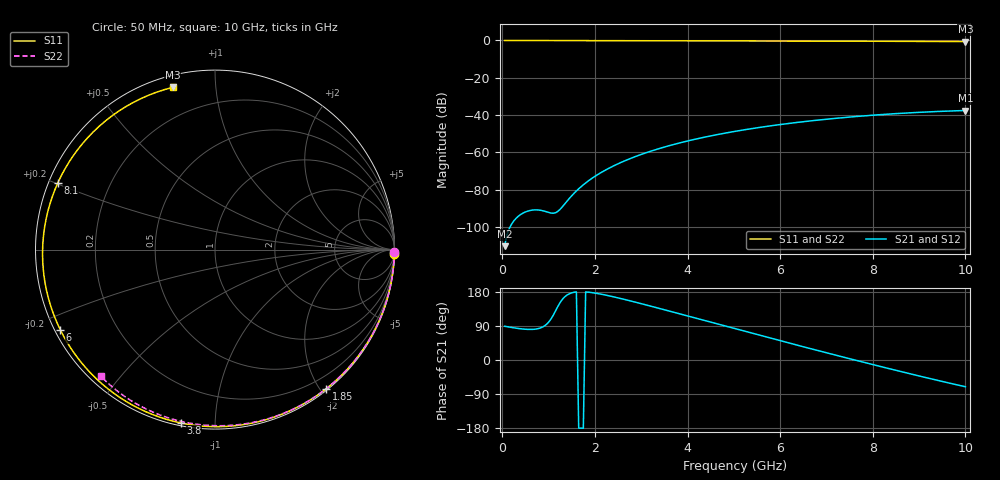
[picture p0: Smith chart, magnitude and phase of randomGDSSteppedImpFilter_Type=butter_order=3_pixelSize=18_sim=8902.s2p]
! freq	dB(S11)	phase(S11)	dB(S12)	phase(S12)
!  dB(S21)	phase(S21)	dB(S22)	phase(S22)
!S-par simulation data
#  GHz  S  DB  R 50
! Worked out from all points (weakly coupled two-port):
!   200 points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, 50 MHz to 10 GHz, reference 50 ohm
!   highest |S21| = -37.60 dB at 10 GHz (marker M1); lowest = -110.4 dB at 50 MHz (marker M2)
!   lowest |S11| = -0.6 dB at 10 GHz (marker M3), VSWR 29.27, Z = 2.73 + j38.6 ohm
!   |S11| at or under -10 dB: nowhere
!   |S22| runs from -0.4 to 0.0 dB; largest |S21 - S12| = 0
!   S11 on the Smith chart (normalised r, x): 50 MHz: 0, -80; 1.85 GHz: 0.02, -2.07; 3.8 GHz: 0.01, -0.82; 6 GHz: 0.02, -0.24; 8.1 GHz: 0.03, +0.20; 10 GHz: 0.05, +0.77
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0.05  -0.00 -1.4  -110.42 89.1  -110.42 89.1  -0.00 -0.8
0.4  -0.02 -11.4  -93.36 82.3  -93.36 82.3  -0.01 -6.1
0.8  -0.03 -22.6  -91.05 83.6  -91.05 83.6  -0.02 -12.1
1.6  -0.06 -44.7  -80.78 179.7  -80.78 179.7  -0.03 -24.1
1.65  -0.06 -46.1  -79.61 -179.9  -79.61 -179.9  -0.03 -24.9
1.75  -0.06 -48.8  -77.46 -179.9  -77.46 -179.9  -0.03 -26.3
1.85  -0.07 -51.5  -75.53 179.1  -75.53 179.1  -0.04 -27.8
2.15  -0.08 -59.5  -70.66 173.3  -70.66 173.3  -0.04 -32.2
2.5  -0.09 -68.6  -66.18 163.9  -66.18 163.9  -0.05 -37.3
2.9  -0.10 -78.9  -62.08 151.8  -62.08 151.8  -0.06 -43.1
3.4  -0.12 -91.4  -57.94 135.8  -57.94 135.8  -0.07 -50.1
3.8  -0.14 -101.1  -55.19 122.8  -55.19 122.8  -0.08 -55.7
4.4  -0.16 -115.4  -51.74 103.1  -51.74 103.1  -0.09 -63.9
5.05  -0.20 -130.6  -48.68 81.7  -48.68 81.7  -0.11 -72.6
6  -0.26 -152.6  -45.13 50.9  -45.13 50.9  -0.15 -84.8
6.7  -0.31 -168.9  -43.05 28.5  -43.05 28.5  -0.18 -93.5
7.4  -0.37 174.4  -41.33 6.5  -41.33 6.5  -0.22 -102.0
8.1  -0.43 157.0  -39.94 -15.1  -39.94 -15.1  -0.27 -110.3
8.35  -0.46 150.5  -39.51 -22.7  -39.51 -22.7  -0.29 -113.2
9.15  -0.53 129.0  -38.40 -46.5  -38.40 -46.5  -0.36 -122.5
9.6  -0.56 116.3  -37.93 -59.4  -37.93 -59.4  -0.40 -127.6
10  -0.59 104.6  -37.60 -70.6  -37.60 -70.6  -0.45 -132.2
